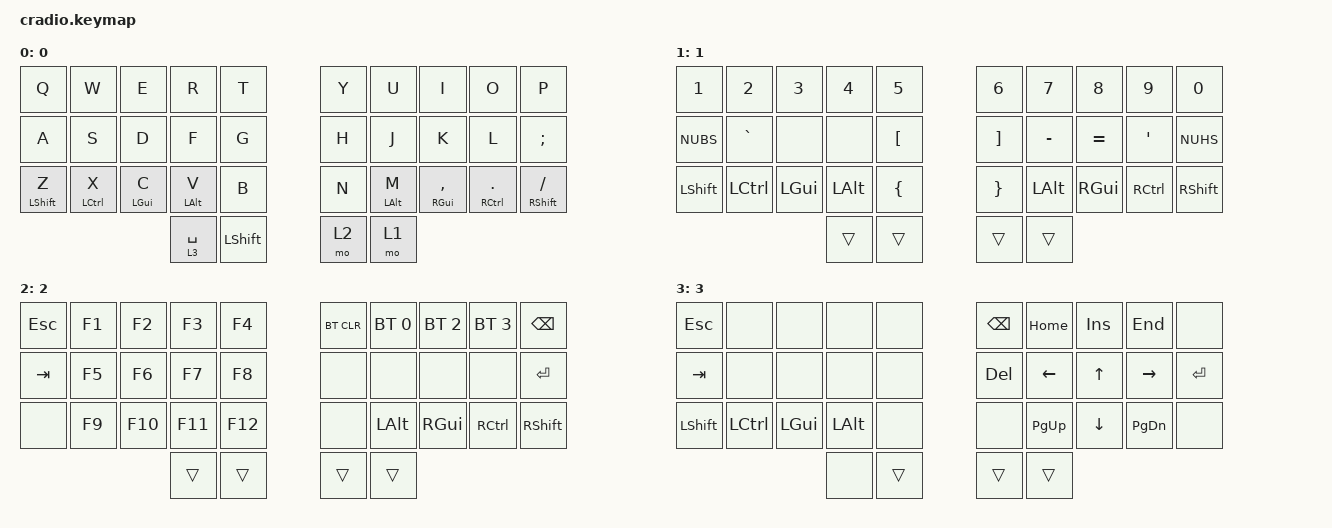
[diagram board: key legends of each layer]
// Copyright (c) 2022 The ZMK Contributors
// SPDX-License-Identifier: MIT

#include <behaviors.dtsi>
#include <dt-bindings/zmk/keys.h>
#include <dt-bindings/zmk/bt.h>

/ {
    behaviors {
        hm: homerow_mods {
            compatible = "zmk,behavior-hold-tap";
            label = "HOMEROW_MODS";
            #binding-cells = <2>;
            tapping-term-ms = <200>;
            quick_tap_ms = <0>;
            flavor = "tap-preferred";
            bindings = <&kp>, <&kp>;
        };
        lm: leftthumb_mods {
            compatible = "zmk,behavior-hold-tap";
            label = "LEFTTHUMB_MODS";
            #binding-cells = <2>;
            tapping-term-ms = <200>;
            quick_tap_ms = <0>;
            flavor = "tap-preferred";
            bindings = <&mo>, <&kp>;
        };
        nm: nonezeroleftthumb_mods {
            compatible = "zmk,behavior-hold-tap";
            label = "NONZEROLEFTTHUMB_MODS";
            #binding-cells = <2>;
            tapping-term-ms = <200>;
            quick_tap_ms = <0>;
            flavor = "tap-preferred";
            bindings = <&mo>, <&to>;
        };
        rm: rightthumb_mods {
            compatible = "zmk,behavior-hold-tap";
            label = "RIGHTTHUMB_MODS";
            #binding-cells = <2>;
            tapping-term-ms = <200>;
            quick_tap_ms = <0>;
            flavor = "tap-preferred";
            bindings = <&kp>, <&to>;
        };
    };

    keymap {
        compatible = "zmk,keymap";
        0 {
            bindings = <
            &kp Q       &kp W       &kp E       &kp R       &kp T       &kp Y       &kp U       &kp I       &kp O       &kp P
            &kp A       &kp S       &kp D       &kp F       &kp G       &kp H       &kp J       &kp K       &kp L       &kp SEMI
            &hm LSHFT Z &hm LCTRL X &hm LGUI C  &hm LALT V  &kp B       &kp N       &hm LALT M  &hm RGUI COMMA &hm RCTRL DOT &hm RSHFT FSLH
                                                &lm 3 SPACE &kp LSHFT   &mo 2       &mo 1
            >;
        };

        1 {
            bindings = <
            &kp N1      &kp N2      &kp N3      &kp N4      &kp N5      &kp N6      &kp N7      &kp N8      &kp N9      &kp N0
            &kp NUBS    &kp GRAVE   &none       &none       &kp LBKT    &kp RBKT    &kp MINUS   &kp EQUAL   &kp SQT     &kp NUHS
            &kp LSHFT   &kp LCTRL   &kp LGUI    &kp LALT    &kp LBRC    &kp RBRC    &kp LALT    &kp RGUI    &kp RCTRL   &kp RSHFT
                                                &trans      &trans      &trans      &trans
            >;
        };

        2 {
            bindings = <
            &kp ESC     &kp F1      &kp F2      &kp F3      &kp F4      &bt BT_CLR  &bt BT_SEL 0 &bt BT_SEL 2 &bt BT_SEL 3 &kp BSPC
            &kp TAB     &kp F5      &kp F6      &kp F7      &kp F8      &none       &none       &none       &none       &kp RET
            &none       &kp F9      &kp F10     &kp F11     &kp F12     &none       &kp LALT    &kp RGUI    &kp RCTRL   &kp RSHFT
                                                &trans      &trans      &trans      &trans
            >;
        };

        3 {
            bindings = <
            &kp ESC     &none       &none       &none       &none       &kp BSPC    &kp HOME    &kp INS     &kp END     &none
            &kp TAB     &none       &none       &none       &none       &kp DEL     &kp LEFT    &kp UP      &kp RIGHT   &kp RET
            &kp LSHFT   &kp LCTRL   &kp LGUI    &kp LALT    &none       &none       &kp PG_UP   &kp DOWN    &kp PG_DN   &none
                                                &none       &trans      &trans      &trans
            >;
        };
    };
};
